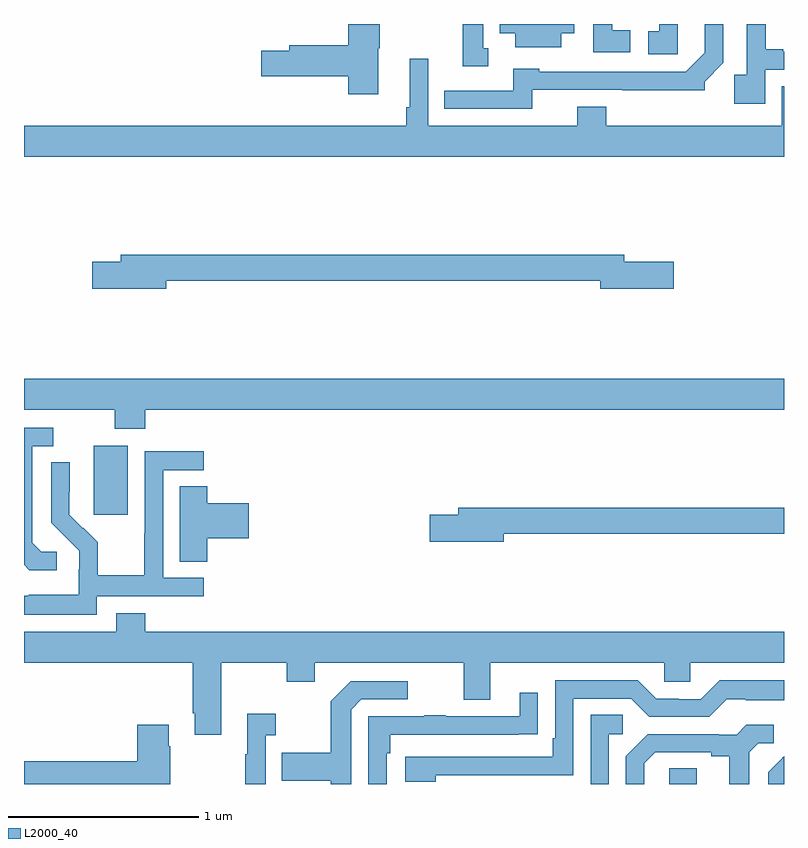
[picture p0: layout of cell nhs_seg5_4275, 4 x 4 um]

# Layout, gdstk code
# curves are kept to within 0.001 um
import gdstk
lib = gdstk.Library(unit=1e-6, precision=1e-09)
def R(c, l, rs):  # rectangles x0, y0, x1, y1
    for r in rs: c.add(gdstk.rectangle(r[:2], r[2:], *l))
def P(c, l, *ps):  # polygons
    for p in ps: c.add(gdstk.Polygon(p, *l))
L2000_40 = (2000, 40)

nhs_seg5_4275 = lib.new_cell('nhs_seg5_4275')
R(nhs_seg5_4275, L2000_40, [(366.396,846.799,366.541,846.881), (363.368,848.217,363.547,848.578)])
P(nhs_seg5_4275, L2000_40, [(365.676,850.452),(366.582,850.451),(366.582,850.495),(366.681,850.594),(366.681,850.799),(366.584,850.799),(366.584,850.649),(366.483,850.548),(365.712,850.548),(365.712,850.564),(365.576,850.564),(365.576,850.449),(365.212,850.449),(365.212,850.353),(365.676,850.353)],
  [(366.9,850.557),(367,850.557),(367,850.653),(366.997,850.653),(366.997,850.666),(366.905,850.666),(366.905,850.799),(366.804,850.799),(366.804,850.531),(366.739,850.531),(366.739,850.38),(366.9,850.38)],
  [(366.442,850.799),(366.343,850.799),(366.343,850.761),(366.285,850.761),(366.285,850.641),(366.442,850.641)],
  [(365.827,850.751),(365.896,850.751),(365.896,850.799),(365.503,850.799),(365.503,850.751),(365.585,850.751),(365.585,850.676),(365.827,850.676)],
  [(366.19,850.766),(366.096,850.766),(366.096,850.799),(365.997,850.799),(365.997,850.65),(366.19,850.65)],
  [(365.443,850.671),(365.418,850.671),(365.418,850.799),(365.31,850.799),(365.31,850.577),(365.443,850.577)],
  [(364.864,850.671),(364.872,850.671),(364.872,850.799),(364.706,850.799),(364.706,850.688),(364.397,850.688),(364.397,850.658),(364.248,850.658),(364.248,850.523),(364.706,850.523),(364.706,850.428),(364.864,850.428)],
  [(367,850.472),(366.989,850.472),(366.989,850.264),(366.065,850.264),(366.065,850.363),(365.912,850.363),(365.912,850.264),(365.127,850.264),(365.127,850.615),(365.03,850.615),(365.03,850.36),(365.011,850.36),(365.011,850.264),(363,850.264),(363,850.1),(367,850.1)],
  [(363.748,849.448),(366.032,849.448),(366.032,849.406),(366.421,849.406),(366.421,849.548),(366.16,849.548),(366.16,849.584),(363.509,849.584),(363.509,849.548),(363.36,849.548),(363.36,849.406),(363.748,849.406)],
  [(363.638,848.768),(367,848.768),(367,848.932),(363,848.932),(363,848.768),(363.478,848.768),(363.478,848.669),(363.638,848.669)],
  [(363.172,848.022),(363.09,848.022),(363.043,848.069),(363.043,848.577),(363.154,848.577),(363.154,848.673),(363,848.673),(363,847.953),(363.028,847.925),(363.172,847.925)],
  [(363.384,847.788),(363.946,847.788),(363.946,847.884),(363.732,847.884),(363.732,848.451),(363.946,848.451),(363.946,848.55),(363.636,848.55),(363.636,848.12),(363.634,848.12),(363.634,847.897),(363.389,847.897),(363.389,848.071),(363.312,848.148),(363.309,848.145),(363.239,848.216),(363.24,848.492),(363.144,848.492),(363.144,848.174),(363.29,848.026),(363.29,847.929),(363.288,847.929),(363.288,847.795),(363.025,847.795),(363.025,847.791),(363,847.791),(363,847.691),(363.384,847.691)],
  [(363.965,848.093),(364.183,848.093),(364.183,848.276),(363.965,848.276),(363.965,848.366),(363.821,848.366),(363.821,847.969),(363.965,847.969)],
  [(365.524,848.116),(367,848.116),(367,848.252),(365.285,848.252),(365.285,848.216),(365.136,848.216),(365.136,848.074),(365.524,848.074)],
  [(363.638,847.699),(363.485,847.699),(363.485,847.6),(363,847.6),(363,847.436),(363.887,847.436),(363.887,847.171),(363.899,847.171),(363.899,847.059),(364.039,847.059),(364.039,847.436),(364.384,847.436),(364.384,847.337),(364.531,847.337),(364.531,847.436),(365.315,847.436),(365.315,847.242),(365.455,847.242),(365.455,847.436),(366.369,847.436),(366.369,847.338),(366.507,847.338),(366.507,847.436),(367,847.436),(367,847.6),(363.638,847.6)],
  [(365.168,846.846),(365.892,846.846),(365.892,847.248),(366.195,847.248),(366.291,847.152),(366.606,847.152),(366.699,847.245),(366.799,847.245),(366.799,847.241),(367,847.241),(367,847.345),(366.661,847.345),(366.561,847.245),(366.446,847.245),(366.446,847.248),(366.327,847.248),(366.231,847.344),(365.796,847.344),(365.796,847.039),(365.783,847.039),(365.783,846.942),(365.007,846.942),(365.007,846.812),(365.168,846.812)],
  [(364.722,847.191),(364.776,847.245),(365.02,847.245),(365.02,847.341),(364.719,847.341),(364.614,847.235),(364.614,846.963),(364.357,846.963),(364.357,846.815),(364.614,846.815),(364.614,846.799),(364.722,846.799)],
  [(364.908,846.962),(364.928,846.962),(364.928,847.059),(365.603,847.059),(365.603,847.06),(365.705,847.06),(365.705,847.279),(365.609,847.279),(365.609,847.155),(365.219,847.155),(365.219,847.16),(365.107,847.16),(365.107,847.155),(364.812,847.155),(364.812,846.799),(364.908,846.799)],
  [(364.272,847.055),(364.324,847.055),(364.324,847.168),(364.175,847.168),(364.175,846.955),(364.164,846.955),(364.164,846.799),(364.272,846.799)],
  [(366.078,847.062),(366.151,847.062),(366.151,847.163),(365.982,847.163),(365.982,846.799),(366.078,846.799)],
  [(366.265,846.909),(366.322,846.966),(366.617,846.966),(366.617,846.944),(366.713,846.944),(366.713,846.799),(366.817,846.799),(366.817,846.967),(366.864,847.014),(366.946,847.014),(366.946,847.111),(366.802,847.111),(366.75,847.059),(366.656,847.059),(366.656,847.062),(366.284,847.062),(366.168,846.946),(366.168,846.799),(366.265,846.799)],
  [(363.771,846.998),(363.763,846.998),(363.763,847.111),(363.596,847.111),(363.596,846.92),(363,846.92),(363,846.799),(363.771,846.799)],
  [(367,846.946),(366.99,846.936),(366.991,846.935),(366.918,846.862),(366.918,846.799),(367,846.799)])

lib.write_gds('nhs_seg5_4275.gds')
